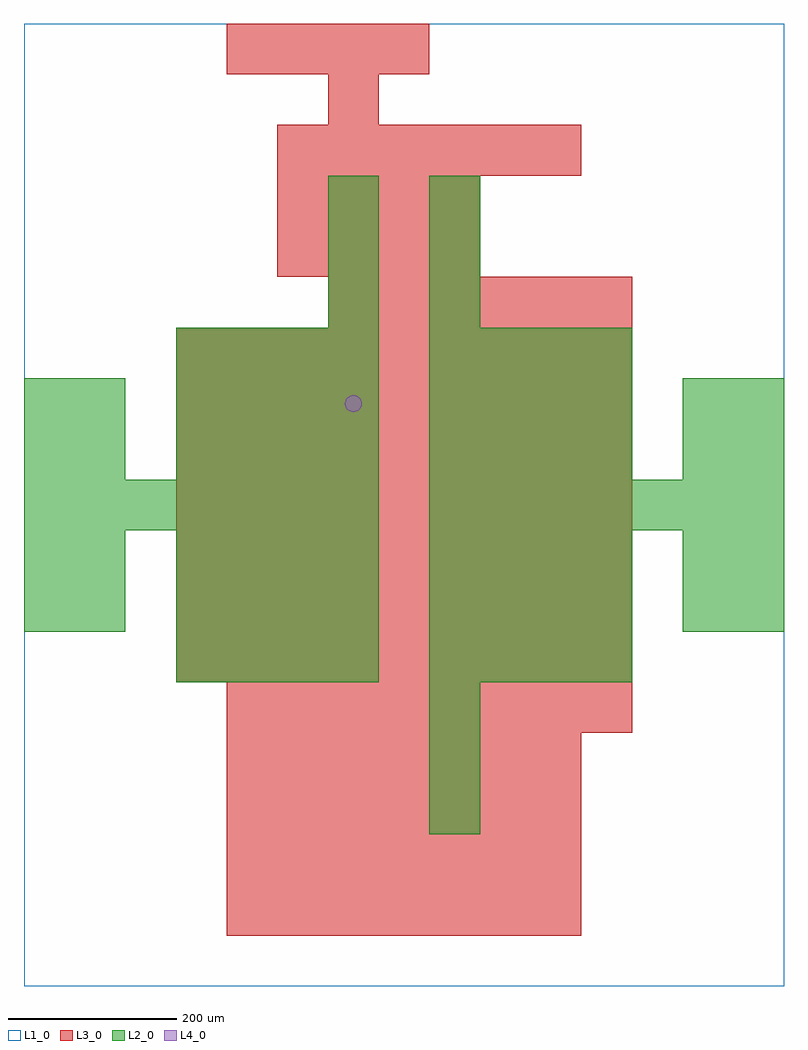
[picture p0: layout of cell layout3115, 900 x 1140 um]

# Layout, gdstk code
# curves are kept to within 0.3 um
import gdstk
lib = gdstk.Library(unit=1e-6, precision=1e-09)
def R(c, l, rs):  # rectangles x0, y0, x1, y1
    for r in rs: c.add(gdstk.rectangle(r[:2], r[2:], *l))
def A(c, l, x, y, w, h, nx, ny, dx, dy):  # array of equal rectangles
    R(c, l, [(x+i*dx, y+j*dy, x+i*dx+w, y+j*dy+h) for i in range(nx) for j in range(ny)])
def P(c, l, *ps):  # polygons
    for p in ps: c.add(gdstk.Polygon(p, *l))
L1_0 = (1, 0)
L2_0 = (2, 0)
L3_0 = (3, 0)
L4_0 = (4, 0)

layout3115 = lib.new_cell('layout3115')
R(layout3115, L1_0, [(0,0,900,1140)])
A(layout3115, L2_0, 480, 180, 60, 60, 1, 3, 0, 60)
A(layout3115, L2_0, 180, 360, 60, 60, 4, 3, 60, 60)
A(layout3115, L2_0, 480, 360, 60, 60, 4, 3, 60, 60)
A(layout3115, L2_0, 0, 540, 60, 60, 7, 1, 60, 0)
A(layout3115, L2_0, 480, 540, 60, 60, 7, 1, 60, 0)
A(layout3115, L2_0, 180, 600, 60, 60, 4, 3, 60, 60)
A(layout3115, L2_0, 480, 600, 60, 60, 4, 3, 60, 60)
A(layout3115, L2_0, 360, 780, 60, 60, 1, 3, 0, 60)
A(layout3115, L2_0, 480, 780, 60, 60, 1, 3, 0, 60)
R(layout3115, L2_0, [(0,420,60,480), (60,420,120,480), (780,420,840,480), (840,420,900,480), (0,480,60,540), (60,480,120,540), (780,480,840,540), (840,480,900,540), (0,600,60,660), (60,600,120,660), (780,600,840,660), (840,600,900,660), (0,660,60,720), (60,660,120,720), (780,660,840,720), (840,660,900,720)])
A(layout3115, L3_0, 240, 60, 60, 60, 7, 4, 60, 60)
A(layout3115, L3_0, 240, 300, 60, 60, 8, 1, 60, 0)
A(layout3115, L3_0, 180, 360, 60, 60, 9, 7, 60, 60)
A(layout3115, L3_0, 360, 780, 60, 60, 6, 1, 60, 0)
A(layout3115, L3_0, 300, 840, 60, 60, 4, 2, 60, 60)
A(layout3115, L3_0, 300, 960, 60, 60, 6, 1, 60, 0)
A(layout3115, L3_0, 240, 1080, 60, 60, 4, 1, 60, 0)
R(layout3115, L3_0, [(360,1020,420,1080)])
P(layout3115, L4_0, [(400,690),(399.239,693.827),(397.071,697.071),(393.827,699.239),(390,700),(386.173,699.239),(382.929,697.071),(380.761,693.827),(380,690),(380.761,686.173),(382.929,682.929),(386.173,680.761),(390,680),(393.827,680.761),(397.071,682.929),(399.239,686.173)])

lib.write_gds('layout3115.gds')
